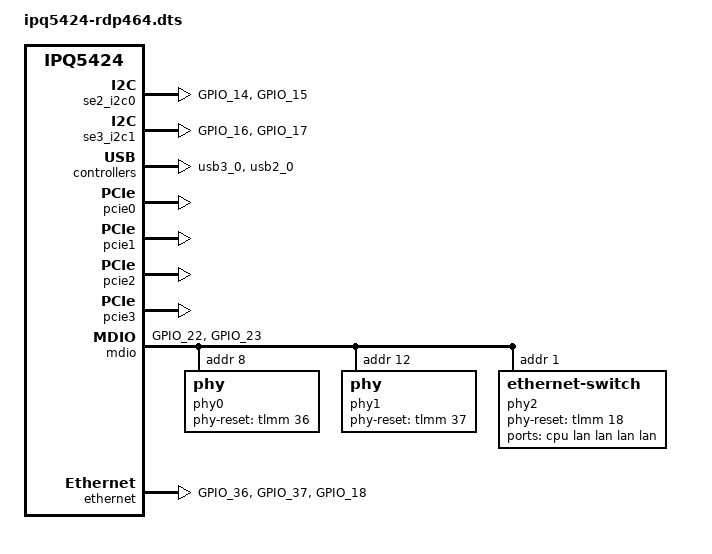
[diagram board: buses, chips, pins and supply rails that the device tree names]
// SPDX-License-Identifier: GPL-2.0-only
/*
* Copyright (c) 2023-2024, Qualcomm Innovation Center, Inc. All rights reserved.
*/

#include "ipq5424-default.dts"

/ {
	config_name = "config-rdp464";

	soc: soc@0 {
		tlmm: pinctrl@1000000 {
			mdio_pinmux: mdio {
				mdc {
					pins = "GPIO_22";
					function = "mdc";
					drive-strength = <DRIVE_STRENGTH_8MA>;
					bias-disable;
				};

				mdio {
					pins = "GPIO_23";
					function = "mdio";
					drive-strength = <DRIVE_STRENGTH_8MA>;
					bias-pull-up;
				};
			};

			phy_rst_pinmux: phy_rst {
				qti_laguna0_rst {
					pins = "GPIO_36";
					drive-strength = <DRIVE_STRENGTH_8MA>;
					bias-pull-up;
				};

				qti_laguna1_rst {
					pins = "GPIO_37";
					drive-strength = <DRIVE_STRENGTH_8MA>;
					bias-pull-up;
				};

				qti_8x8x_rst {
					pins = "GPIO_18";
					drive-strength = <DRIVE_STRENGTH_8MA>;
					bias-pull-up;
				};
			};

			i2c0_pinmux: i2c0 {
				i2c0_scl {
					pins = "GPIO_14";
					function = "i2c0_scl";
					drive-strength = <DRIVE_STRENGTH_8MA>;
					bias-pull-up;
				};

				i2c0_sda {
					pins = "GPIO_15";
					function = "i2c0_sda";
					drive-strength = <DRIVE_STRENGTH_8MA>;
					bias-disable;
				};
			};

			i2c1_pinmux: i2c1 {
				i2c1_scl {
					pins = "GPIO_16";
					function = "i2c1_scl";
					drive-strength = <DRIVE_STRENGTH_2MA>;
					bias-pull-down;
				};

				i2c1_sda {
					pins = "GPIO_17";
					function = "i2c1_sda";
					drive-strength = <DRIVE_STRENGTH_2MA>;
					bias-pull-down;
				};
			};

			i2c2_pinmux: i2c2_pins {
				i2c2_sda {
					pins = "GPIO_47";
					function = "i2c2_sda";
					drive-strength = <DRIVE_STRENGTH_8MA>;
					bias-disable;
				};

				i2c2_scl {
					pins = "GPIO_48";
					function = "i2c2_scl";
					drive-strength = <DRIVE_STRENGTH_8MA>;
					bias-pull-up;
				};
			};
		};

		qupv3: geniqup@1ac0000 {
			se2_i2c0: i2c@1a88000 {
				pinctrl-0 = <&i2c0_pinmux>;
				pinctrl-names = "default";
				status = "okay";
			};

			se3_i2c1: i2c@1a8c000 {
				pinctrl-0 = <&i2c1_pinmux>;
				pinctrl-names = "default";
				status = "okay";
			};

			se5: se5@1a94000 {
				compatible = "qcom,msm-geni-i2c";
				pinctrl-0 = <&i2c2_pinmux>;
				pinctrl-names = "default";
				status = "okay";
			};
		};

		qmp_ssphy_0: ssphy@7D000 {
			status = "okay";
		};

		qusb2_phy_0: qusb2@7B000 {
			status = "okay";
		};

		usb3_0: usb@8af8800 {
			status = "okay";
		};

		qusb2_phy_1: qusb2@71000 {
			status = "okay";
		};

		usb2_0: usb@1ef8800 {
			status = "okay";
		};

		pcie0_phy: phy@84000 {
			status = "okay";
		};

		pcie0: pcie@70000000 {
			pinctrl-names = "default";
			pinctrl-0 = <&pcie0_pinmux>;
			perst_gpio = <&tlmm 25 GPIO_ACTIVE_HIGH>;
			status = "okay";
		};

		pcie1_phy: phy@8c000 {
			status = "okay";
		};

		pcie1: pcie@60000000 {
			pinctrl-names = "default";
			pinctrl-0 = <&pcie1_pinmux>;
			perst_gpio = <&tlmm 28 GPIO_ACTIVE_HIGH>;
			status = "okay";
		};

		pcie2_phy: phy@f4000 {
			status = "okay";
		};

		pcie2: pcie@50000000 {
			pinctrl-names = "default";
			pinctrl-0 = <&pcie2_pinmux>;
			perst_gpio = <&tlmm 31 GPIO_ACTIVE_HIGH>;
			status = "okay";
		};

		pcie3_phy: phy@fc000 {
			status = "okay";
		};

		pcie3: pcie@40000000 {
			pinctrl-names = "default";
			pinctrl-0 = <&pcie3_pinmux>;
			perst_gpio = <&tlmm 34 GPIO_ACTIVE_HIGH>;
			status = "okay";
		};

		mdio: mdio@90000 {
			pinctrl-names = "default";
			pinctrl-0 = <&mdio_pinmux>;
			status = "okay";

			phy0: phy@8 {
				phy-reset-gpio = <&tlmm 36 0>;
				reg = <8>;
				phy_id = <QCA81xx_PHY_TYPE>;
				id = <1>;
				uniphy_id = <0>;
				uniphy_type = <0>;
				xgmac;
			};

			phy1: phy@12 {
				phy-reset-gpio = <&tlmm 37 0>;
				reg = <12>;
				phy_id = <QCA81xx_PHY_TYPE>;
				id = <2>;
				uniphy_id = <1>;
				uniphy_type = <0>;
				xgmac;
			};

			phy2: ethernet-switch@1 {
				phy-reset-gpio = <&tlmm 18 0>;
				dev-mode = <0x1>;
				reg = <1>;
				phy_id = <QCA8x8x_SWITCH_TYPE>;
				id = <3>;
				uniphy_id = <2>;
				uniphy_type = <0>;
				max_speed = <2500>;
				force-speed;
				xgmac;
				ports {
					#address-cells = <1>;
					#size-cells = <0>;

					port0: port@0 {
						reg = <0>;
						label = "cpu";
						phy-mode = "sgmii-2500";
						fixed-link {
							speed = <2500>;
							full-duplex;
						};
					};

					port1: port@1 {
						reg = <1>;
						label = "lan";
					};

					port2: port@2 {
						reg = <2>;
						label = "lan";
					};

					port3: port@3 {
						reg = <3>;
						label = "lan";
					};

					port4: port@4 {
						reg = <4>;
						label = "lan";
					};
				};
			};
		};

		ethernet: nss-switch {
			pinctrl-names = "default";
			pinctrl-0 = <&phy_rst_pinmux>;
			phy-handle0 = <&phy0>;
			phy-handle1 = <&phy1>;
			phy-handle2 = <&phy2>;
			status = "okay";
		};
	};
};
